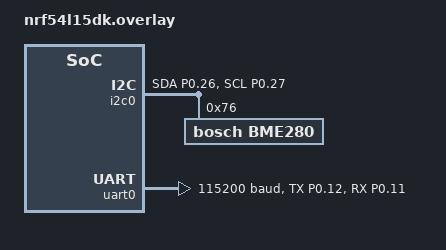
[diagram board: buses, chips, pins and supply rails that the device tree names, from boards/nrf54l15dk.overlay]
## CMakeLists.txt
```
cmake_minimum_required(VERSION 3.20.0)
find_package(Zephyr REQUIRED HINTS $ENV{ZEPHYR_BASE})
project(ncs_ble_bme280_nrf54_standalone)

target_sources(app PRIVATE 
    src/main.c
    src/storage.c  # ENABLED: storage for sensor data
    src/ble_gatt.c
)
```

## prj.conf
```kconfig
CONFIG_MAIN_STACK_SIZE=2048

# MCUboot bootloader for OTA updates
CONFIG_BOOTLOADER_MCUBOOT=y

CONFIG_BT=y
CONFIG_BT_PERIPHERAL=y
CONFIG_BT_GATT_SERVICE_CHANGED=y
CONFIG_BT_MAX_CONN=1
CONFIG_BT_BUF_ACL_TX_COUNT=3
CONFIG_BT_BUF_ACL_RX_COUNT=3
CONFIG_BT_DEVICE_NAME="BME-789ABC"
CONFIG_BT_DEVICE_NAME_DYNAMIC=y
CONFIG_BT_PRIVACY=n
# CONFIG_BT_LIM_ADV_TIMEOUT - not set (unlimited advertising)

# NOTE (adv stability):
# - privacy off to avoid host resume (-12) after first connect
# - no limited adv timeout so adv stays running

# Sensor stack - DISABLED (using random data instead)
# CONFIG_SENSOR=y
# CONFIG_I2C=y
# CONFIG_BME280=y

# Storage/NVS - ENABLED
CONFIG_FLASH=y
CONFIG_FLASH_PAGE_LAYOUT=y
CONFIG_FLASH_MAP=y
CONFIG_NVS=y

# ADC - ENABLED (for battery voltage reading)
CONFIG_ADC=y
CONFIG_NRFX_SAADC=y

# Логи по UART (полный вывод)
CONFIG_SERIAL=y
CONFIG_UART_CONSOLE=y
CONFIG_CONSOLE=y
CONFIG_LOG=y
CONFIG_LOG_BACKEND_UART=y
CONFIG_LOG_MODE_IMMEDIATE=y
CONFIG_PRINTK=y
CONFIG_LOG_DEFAULT_LEVEL=3

# BT debug: maximum verbosity to catch adv resume issues
CONFIG_BT_LOG_LEVEL_DBG=y
# CONFIG_BT_DEBUG_LOG=y  # Not available in this Zephyr version
# CONFIG_BT_DEBUG_HCI_CORE=y  # Not available in this Zephyr version
# CONFIG_BT_DEBUG_HCI_DRIVER=y  # Not available in this Zephyr version
# CONFIG_BT_DEBUG_CONN=y  # Not available in this Zephyr version
# CONFIG_BT_DEBUG_GATT=y  # Not available in this Zephyr version
```

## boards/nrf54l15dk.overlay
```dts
&pinctrl {
    i2c0_default: i2c0_default {
        group1 {
            psels = <NRF_PSEL(TWIM_SDA, 0, 26)>,
                    <NRF_PSEL(TWIM_SCL, 0, 27)>;
        };
    };

    i2c0_sleep: i2c0_sleep {
        group1 {
            psels = <NRF_PSEL(TWIM_SDA, 0, 26)>,
                    <NRF_PSEL(TWIM_SCL, 0, 27)>;
            low-power-enable;
        };
    };
};

&i2c0 {
    status = "okay";
    pinctrl-0 = <&i2c0_default>;
    pinctrl-1 = <&i2c0_sleep>;
    pinctrl-names = "default", "sleep";

    bme280@76 {
        compatible = "bosch,bme280";
        reg = <0x76>;
        label = "BME280";
    };
};

/ {
    chosen {
        zephyr,console = &uart0;
        zephyr,flash = &flash0;
    };
};

&uart0 {
    status = "okay";
    current-speed = <115200>;
    pinctrl-0 = <&uart0_default>;
    pinctrl-1 = <&uart0_sleep>;
    pinctrl-names = "default", "sleep";
};

&pinctrl {
    uart0_default: uart0_default {
        group1 {
            psels = <NRF_PSEL(UART_TX, 0, 12)>,
                    <NRF_PSEL(UART_RX, 0, 11)>;
        };
    };

    uart0_sleep: uart0_sleep {
        group1 {
            psels = <NRF_PSEL(UART_TX, 0, 12)>,
                    <NRF_PSEL(UART_RX, 0, 11)>;
            low-power-enable;
        };
    };
};

/* Flash partitions are managed by Partition Manager (pm.yml) for nRF54L15 */
```

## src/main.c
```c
#include <zephyr/kernel.h>
#include <zephyr/device.h>
#include <zephyr/bluetooth/bluetooth.h>
#include <zephyr/bluetooth/hci.h>
#include <zephyr/logging/log.h>
#include <zephyr/sys/printk.h>
#include <zephyr/sys/util.h>
#include <string.h>
#include <sys/types.h>
#include "config.h"
#include "storage.h"  // ENABLED: storage for sensor data
#include "ble_gatt.h"

LOG_MODULE_REGISTER(main, LOG_LEVEL_INF);

static uint8_t adv_name[12]; // будет заполнено из BLE адреса, формат BME-XXXXXX

struct bt_data ad[] = {
    BT_DATA_BYTES(BT_DATA_FLAGS, (BT_LE_AD_GENERAL | BT_LE_AD_NO_BREDR)),
    BT_DATA_BYTES(BT_DATA_UUID128_ALL,
        0x12, 0x34, 0x56, 0x78, 0x12, 0x34, 0x12, 0x34,
        0x12, 0x34, 0x12, 0x34, 0x56, 0x78, 0x9a, 0xbc),
    {
        .type = BT_DATA_NAME_COMPLETE,
        .data_len = 0, // заполнится в рантайме
        .data = adv_name,
    },
};

static void low_power_init(void)
{
    // Low power initialization for nRF54L15
    // Power management handled by Zephyr RTOS
}

// Generate random sensor data instead of reading from real sensor

int main(void)
{
    int err;

    // Early test output via printk (before LOG system initializes)
    // printk("\n\n=== BME280 Node Starting ===\n");
    // printk("UART test: if you see this, UART is working!\n");
    // k_sleep(K_MSEC(100));
    
    // LOG_INF("BME280 Node starting...");

    low_power_init();
    // LOG_DBG("Low power initialized");

    // Initialize storage (non-blocking - continue even if it fails)
    err = storage_init();
    if (err) {
        LOG_ERR("Storage init failed: %d (continuing anyway)", err);
        // Continue without storage - device should still work for BLE
    } else {
        LOG_INF("Storage initialized, records: %u", storage_get_count());
        
        // Write a test record immediately to verify storage works
        sensor_record_t test_record = {
            .temp_x10 = 250,      // 25.0 degC
            .press_kpa = 1013,    // 1013 kPa
            .hum_pct = 50,        // 50%
            .battery_v_x10 = 30   // 3.0V
        };
        storage_write(&test_record);
        LOG_INF("Test record written, total: %u", storage_get_count());
    }

    // Initialize BLE - KEEP THIS (working code from beacon)
    err = bt_enable(NULL);
    if (err) {
        // LOG_ERR("BLE enable failed: %d", err);
        return err;
    }
    // LOG_INF("BLE enabled");

    // Initialize GATT server
    err = ble_gatt_init();
    if (err) {
        LOG_ERR("GATT init failed: %d", err);
        return err;
    }
    LOG_INF("GATT server initialized");

    // Prepare device name from BLE identity address: BME-XXXXXX
    {
        bt_addr_le_t addrs[CONFIG_BT_ID_MAX];
        size_t count = CONFIG_BT_ID_MAX;
        bt_id_get(addrs, &count);
        if (count > 0) {
            const uint8_t *a = addrs[0].a.val;
            int n = snprintk((char *)adv_name, sizeof(adv_name),
                             "BME-%02X%02X%02X", a[5], a[4], a[3]);
            if (n < 0) {
                adv_name[0] = '\0';
                ad[2].data_len = 0;
            } else {
                if (n >= sizeof(adv_name))
                    n = sizeof(adv_name) - 1;
                ad[2].data_len = (uint8_t)n;
            }
            // Set device name for compatibility
            bt_set_name((char *)adv_name);
        } else {
            // Fallback to static short name
            memcpy(adv_name, "BME-FFFF", 8);
            ad[2].data_len = 8;
        }
    }

    // Start BLE advertising - non-connectable legacy, interval ~100 ms (0x00a0 * 0.625 ms)
    // Name is included directly in advertising data (prepared above)
    err = bt_le_adv_start(
        BT_LE_ADV_PARAM(BT_LE_ADV_OPT_CONNECTABLE | BT_LE_ADV_OPT_USE_IDENTITY,
                        0x00a0, 0x00a0, NULL),
        ad, ARRAY_SIZE(ad),
        NULL, 0);
    if (err) {
        // LOG_ERR("BLE advertising start failed: %d", err);
        return err;
    }
    // LOG_INF("BLE advertising started");

    // LOG_INF("Node initialized successfully");

    // Main loop - generate random sensor data
    static uint32_t counter = 0;
    while (1) {
        sensor_record_t record;
        counter++;
        
        // Generate random sensor data
        // Temperature: 20-30 degC (200-300 in x10 units)
        // Use counter and some bit manipulation for pseudo-random values
        uint32_t seed = counter ^ (counter << 13) ^ (counter >> 17);
        record.temp_x10 = 200 + (seed % 100);  // 20.0-29.9 degC
        
        // Pressure: 980-1020 kPa (normal atmospheric pressure range)
        seed = seed ^ (seed << 15);
        record.press_kpa = 980 + (seed % 40);  // 980-1019 kPa
        
        // Humidity: 30-80%
        seed = seed ^ (seed << 7);
        record.hum_pct = 30 + (seed % 50);     // 30-79%
        
        // Battery: 3.0-4.2V (30-42 in x10 units)
        seed = seed ^ (seed << 11);
        record.battery_v_x10 = 30 + (seed % 12); // 3.0-4.1V
        
        // Log generated data
        LOG_INF("Random data: T=%d.%d degC P=%d kPa H=%d%% Bat=%d.%dV",
                record.temp_x10 / 10, record.temp_x10 % 10,
                record.press_kpa, record.hum_pct,
                record.battery_v_x10 / 10, record.battery_v_x10 % 10);
        
        // Write to storage
        storage_write(&record);
        
        k_sleep(K_SECONDS(SENSOR_READ_INTERVAL_SEC));
    }
    
    return 0;
}
```

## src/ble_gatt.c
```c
#include "ble_gatt.h"
#include "config.h"
#include "storage.h"  // ENABLED: storage for sensor data
#include <zephyr/kernel.h>
#include <zephyr/bluetooth/bluetooth.h>
#include <zephyr/bluetooth/gatt.h>
#include <zephyr/bluetooth/uuid.h>
#include <zephyr/logging/log.h>
#include <string.h>
#include <zephyr/sys/byteorder.h>

LOG_MODULE_REGISTER(ble_gatt, LOG_LEVEL_DBG);

// UUID definitions
static struct bt_uuid_128 data_service_uuid = BT_UUID_INIT_128(
    BT_UUID_128_ENCODE(0x12345678, 0x1234, 0x1234, 0x1234, 0x123456789ABC));
static struct bt_uuid_128 data_transfer_uuid = BT_UUID_INIT_128(
    BT_UUID_128_ENCODE(0x12345678, 0x1234, 0x1234, 0x1234, 0x123456789ABD));
static struct bt_uuid_128 control_uuid = BT_UUID_INIT_128(
    BT_UUID_128_ENCODE(0x12345678, 0x1234, 0x1234, 0x1234, 0x123456789ABE));
static struct bt_uuid_128 status_uuid = BT_UUID_INIT_128(
    BT_UUID_128_ENCODE(0x12345678, 0x1234, 0x1234, 0x1234, 0x123456789ABF));

// Transfer state
static bool transfer_in_progress = false;
static uint32_t transfer_current_index = 0;
static uint32_t transfer_total_count = 0;
static uint32_t transfer_start_seq = 0;  // Starting sequence number for current transfer
static struct bt_conn *current_conn = NULL;

// Characteristic handles
static struct bt_gatt_attr *data_transfer_attr = NULL;
static struct bt_gatt_attr *control_attr = NULL;
static struct bt_gatt_attr *status_attr = NULL;

/* Forward declaration for advertising data (defined in main.c) */
extern struct bt_data ad[3];

static void restart_advertising(void)
{
    LOG_INF("Restarting advertising after disconnect...");
    int err = bt_le_adv_start(
        BT_LE_ADV_PARAM(BT_LE_ADV_OPT_CONNECTABLE | BT_LE_ADV_OPT_USE_IDENTITY,
                        0x00a0, 0x00a0, NULL),
        ad, ARRAY_SIZE(ad), NULL, 0);
    if (err == -EALREADY) {
        LOG_DBG("Advertising already running");
    } else if (err) {
        LOG_ERR("Failed to restart advertising: %d", err);
    } else {
        LOG_INF("Advertising restarted successfully");
    }
}


// Packet buffer (20 bytes MTU)
static uint8_t packet_buffer[20];

static void encode_u16_be(uint8_t *dst, uint16_t v)
{
    dst[0] = (uint8_t)(v >> 8);
    dst[1] = (uint8_t)(v & 0xFF);
}

static void encode_u32_be(uint8_t *dst, uint32_t v)
{
    dst[0] = (uint8_t)(v >> 24);
    dst[1] = (uint8_t)(v >> 16);
    dst[2] = (uint8_t)(v >> 8);
    dst[3] = (uint8_t)(v & 0xFF);
}

static int send_header_packet(void)
{
    if (!current_conn || !data_transfer_attr) {
        return -ENOTCONN;
    }

    packet_buffer[0] = PACKET_TYPE_HEADER;
    
    // sensor_interval (2 bytes)
    encode_u16_be(&packet_buffer[1], SENSOR_READ_INTERVAL_SEC);
    
    // total (2 bytes) - max 65535
    uint32_t total = storage_get_count();
    if (total > 65535) total = 65535;
    encode_u16_be(&packet_buffer[3], (uint16_t)total);
    
    // last_sent (2 bytes)
    uint32_t last_sent = storage_get_last_sent();
    if (last_sent > 65535) last_sent = 65535;
    encode_u16_be(&packet_buffer[5], (uint16_t)last_sent);
    
    // reserved (13 bytes) - zero
    memset(&packet_buffer[7], 0, 13);

    struct bt_gatt_notify_params params = {
        .attr = data_transfer_attr,
        .data = packet_buffer,
        .len = sizeof(packet_buffer),
    };

    return bt_gatt_notify_cb(current_conn, &params);
}

static int send_data_packet(uint32_t start_seq, uint8_t count, const sensor_record_t *records)
{
    if (!current_conn || !data_transfer_attr) {
        return -ENOTCONN;
    }

    packet_buffer[0] = PACKET_TYPE_DATA;
    
    // seq (2 bytes)
    if (start_seq > 65535) start_seq = 65535;
    encode_u16_be(&packet_buffer[1], (uint16_t)start_seq);
    
    // count (2 bytes)
    packet_buffer[3] = count;
    packet_buffer[4] = 0;
    
    // data (up to 15 bytes - 2 records max)
    // Convert records to big-endian for network transmission
    uint8_t *dst = &packet_buffer[5];
    for (uint8_t i = 0; i < count; i++) {
        // temp_x10 (int16_t, 2 bytes) - big-endian
        // Cast to uint16_t preserves bit pattern for negative values
        encode_u16_be(dst, (uint16_t)records[i].temp_x10);
        dst += 2;
        // press_kpa (uint16_t, 2 bytes) - big-endian
        encode_u16_be(dst, records[i].press_kpa);
        dst += 2;
        // hum_pct (uint8_t, 1 byte) - no conversion needed
        *dst++ = records[i].hum_pct;
        // battery_v_x10 (uint8_t, 1 byte) - no conversion needed
        *dst++ = records[i].battery_v_x10;
    }
    
    // padding
    memset(&packet_buffer[5 + count * sizeof(sensor_record_t)], 0, 
           15 - count * sizeof(sensor_record_t));

    struct bt_gatt_notify_params params = {
        .attr = data_transfer_attr,
        .data = packet_buffer,
        .len = sizeof(packet_buffer),
    };

    return bt_gatt_notify_cb(current_conn, &params);
}

static int send_end_packet(uint32_t total_sent)
{
    if (!current_conn || !data_transfer_attr) {
        return -ENOTCONN;
    }

    packet_buffer[0] = PACKET_TYPE_END;
    
    // total_sent (2 bytes)
    if (total_sent > 65535) total_sent = 65535;
    encode_u16_be(&packet_buffer[1], (uint16_t)total_sent);
    
    // reserved (17 bytes)
    memset(&packet_buffer[3], 0, 17);

    struct bt_gatt_notify_params params = {
        .attr = data_transfer_attr,
        .data = packet_buffer,
        .len = sizeof(packet_buffer),
    };

    return bt_gatt_notify_cb(current_conn, &params);
}

static void transfer_worker(struct k_work *work)
{
    if (!transfer_in_progress || !current_conn) {
        return;
    }

    // Send header
    if (transfer_current_index == 0) {
        LOG_INF("Sending transfer header, total records: %u", transfer_total_count);
        send_header_packet();
        k_sleep(K_MSEC(50)); // Small delay between packets
    }

    // Send data packets (throttle to 1 record per packet to avoid buffer starvation)
    sensor_record_t records[1];
    uint32_t records_sent = 0;
    /* start from transfer_start_seq (provided by application) */
    uint32_t start_seq = transfer_start_seq;
    
    while (transfer_current_index < transfer_total_count && records_sent < 100) {
        // Read 1 record per packet to reduce HCI buffer pressure
        uint8_t count = 0;
        if ((transfer_current_index) < transfer_total_count) {
            if (storage_read(start_seq + transfer_current_index, &records[0]) == 0) {
                count = 1;
            } else {
                /* If read fails, stop transfer and send END with what we have */
                transfer_current_index = transfer_total_count;
            }
        }

        if (count > 0) {
            send_data_packet(start_seq + transfer_current_index, count, records);
            transfer_current_index += count;
            records_sent += count;
            k_sleep(K_MSEC(120)); // Increase gap to keep TX buffers healthy
        } else {
            break;
        }
    }

    // Send end packet if done
    if (transfer_current_index >= transfer_total_count) {
        LOG_INF("Transfer completed, sent %u records", records_sent);
        send_end_packet(records_sent);
        transfer_in_progress = false;
        transfer_current_index = 0;
    } else {
        LOG_DBG("Transfer progress: %u/%u records", transfer_current_index, transfer_total_count);
        // Schedule next batch
        k_work_submit(work);
    }
}

static K_WORK_DEFINE(transfer_work, transfer_worker);
static K_WORK_DEFINE(advertising_work, restart_advertising);

// Data Transfer Characteristic (notify)
static void data_transfer_ccc_cfg_changed(const struct bt_gatt_attr *attr, uint16_t value)
{
    // Notification enabled/disabled
}

// Control characteristic write handler
static ssize_t control_write(struct bt_conn *conn, const struct bt_gatt_attr *attr,
                             const void *buf, uint16_t len, uint16_t offset, uint8_t flags)
{
    if (len < 1) {
        return BT_GATT_ERR(BT_ATT_ERR_INVALID_ATTRIBUTE_LEN);
    }

    const uint8_t *data = (const uint8_t *)buf;
    uint8_t cmd = data[0];

    switch (cmd) {
        case CMD_START_TRANSFER:
            if (len >= 3) {  // CMD + 2 bytes start_index
                uint16_t start_index = sys_get_be16(&data[1]);
                if (!transfer_in_progress) {
                    transfer_in_progress = true;
                    transfer_current_index = 0;
                    transfer_start_seq = start_index;  // Use provided start_index
                    uint32_t total_count = storage_get_count();
                    if (total_count > start_index) {
                        transfer_total_count = total_count - start_index;
                    } else {
                        transfer_total_count = 0;  // No new data
                    }
                    current_conn = bt_conn_ref(conn);
                    LOG_INF("Transfer command received, start_index: %u, total records: %u", start_index, transfer_total_count);
                    k_work_submit(&transfer_work);
                } else {
                    LOG_WRN("Transfer already in progress");
                }
            } else {
                LOG_WRN("Invalid START_TRANSFER command length: %u", len);
                return BT_GATT_ERR(BT_ATT_ERR_INVALID_ATTRIBUTE_LEN);
            }
            break;
            
        case CMD_STOP_TRANSFER:
            LOG_INF("Stop transfer command received");
            transfer_in_progress = false;
            if (current_conn) {
                bt_conn_unref(current_conn);
                current_conn = NULL;
            }
            break;
            
        case CMD_SET_LAST_SENT:
            if (len >= 3) {
                uint16_t last_sent = sys_get_be16(&data[1]);
                storage_set_last_sent(last_sent);
            }
            break;
    }

    return len;
}

// Status characteristic read handler
static ssize_t status_read(struct bt_conn *conn, const struct bt_gatt_attr *attr,
                           void *buf, uint16_t len, uint16_t offset)
{
    uint8_t status_data[4];
    uint32_t count = storage_get_count();
    uint32_t last_sent = storage_get_last_sent();
    
    if (count > 65535) count = 65535;
    if (last_sent > 65535) last_sent = 65535;
    
    encode_u16_be(&status_data[0], (uint16_t)count);
    encode_u16_be(&status_data[2], (uint16_t)last_sent);

    return bt_gatt_attr_read(conn, attr, buf, len, offset, status_data, sizeof(status_data));
}

BT_GATT_SERVICE_DEFINE(data_service,
    BT_GATT_PRIMARY_SERVICE(&data_service_uuid),
    
    BT_GATT_CHARACTERISTIC(&data_transfer_uuid.uuid,
        BT_GATT_CHRC_NOTIFY,
        BT_GATT_PERM_NONE,
        NULL, NULL, NULL),
    BT_GATT_CCC(data_transfer_ccc_cfg_changed,
        BT_GATT_PERM_READ | BT_GATT_PERM_WRITE),
    
    BT_GATT_CHARACTERISTIC(&control_uuid.uuid,
        BT_GATT_CHRC_WRITE | BT_GATT_CHRC_WRITE_WITHOUT_RESP,
        BT_GATT_PERM_WRITE,
        NULL, control_write, NULL),
    
    BT_GATT_CHARACTERISTIC(&status_uuid.uuid,
        BT_GATT_CHRC_READ | BT_GATT_CHRC_NOTIFY,
        BT_GATT_PERM_READ,
        status_read, NULL, NULL),
);

// Connection callbacks
// NOTE:
// - bt_le_adv_stop() убрано из connected: рекламу не гасим при подключении, чтобы не ломать повторные подключения.
// - Рестарт рекламы только в disconnected (см. restart_advertising), stack resume/таймауты не используются.
static void connected(struct bt_conn *conn, uint8_t err)
{
    LOG_INF("Connected callback called, err=%u", err);
    if (err) {
        LOG_ERR("Connection failed: %u", err);
        return;
    }
    current_conn = bt_conn_ref(conn);

    // Find characteristic attributes for notifications
    data_transfer_attr = bt_gatt_find_by_uuid(NULL, 0, &data_transfer_uuid.uuid);
    control_attr = bt_gatt_find_by_uuid(NULL, 0, &control_uuid.uuid);
    status_attr = bt_gatt_find_by_uuid(NULL, 0, &status_uuid.uuid);

    LOG_INF("BLE client connected, attributes found");
}

static void disconnected(struct bt_conn *conn, uint8_t reason)
{
    LOG_INF("Disconnected callback called, reason=%u", reason);
    transfer_in_progress = false;
    if (current_conn) {
        bt_conn_unref(current_conn);
        current_conn = NULL;
    }
    LOG_INF("BLE client disconnected, scheduling advertising restart...");

    // Schedule advertising restart via work queue
    k_work_submit(&advertising_work);
}

static struct bt_conn_cb conn_callbacks = {
    .connected = connected,
    .disconnected = disconnected,
};

int ble_gatt_init(void)
{
    int err;

    // Register connection callbacks
    err = bt_conn_cb_register(&conn_callbacks);
    if (err) {
        LOG_ERR("Failed to register connection callbacks: %d", err);
        return err;
    }
    LOG_INF("Connection callbacks registered");

    // Attributes will be found when connection is established
    // using bt_gatt_find_by_uuid if needed

    return 0;
}

int ble_gatt_start_transfer(void)
{
    if (transfer_in_progress) {
        LOG_WRN("Transfer already in progress");
        return -EBUSY;
    }

    transfer_in_progress = true;
    LOG_INF("Starting data transfer from index %u", transfer_start_seq);
    transfer_current_index = 0;
    /* Send records starting from transfer_start_seq */
    uint32_t total = storage_get_count();
    if (total > transfer_start_seq) {
        transfer_total_count = total - transfer_start_seq;
    } else {
        transfer_total_count = 0;
    }
    k_work_submit(&transfer_work);

    return 0;
}

int ble_gatt_stop_transfer(void)
{
    transfer_in_progress = false;
    return 0;
}

bool ble_gatt_is_transferring(void)
{
    return transfer_in_progress;
}
```

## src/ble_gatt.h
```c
#ifndef BLE_GATT_H
#define BLE_GATT_H

#include <stdint.h>
#include <stdbool.h>
#include "storage.h"  // ENABLED: storage for sensor data

// UUIDs are defined directly in ble_gatt.c

// Packet types
#define PACKET_TYPE_HEADER 0
#define PACKET_TYPE_DATA    1
#define PACKET_TYPE_END     2

// Control commands
#define CMD_START_TRANSFER  0x01
#define CMD_STOP_TRANSFER   0x02
#define CMD_GET_STATUS      0x03
#define CMD_SET_LAST_SENT   0x04

// Initialize GATT server
int ble_gatt_init(void);

// Start data transfer
int ble_gatt_start_transfer(void);

// Stop data transfer
int ble_gatt_stop_transfer(void);

// Check if transfer is in progress
bool ble_gatt_is_transferring(void);

#endif // BLE_GATT_H
```

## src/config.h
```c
#ifndef CONFIG_H
#define CONFIG_H

#define SENSOR_READ_INTERVAL_SEC 10      // Sensor reading period (seconds)
#define RAM_BUFFER_SIZE 200              // RAM buffer size before flash write
#define FLASH_WRITE_INTERVAL_SEC 5       // Minimum interval between flash writes (seconds)
#define ADV_CONNECTABLE_INTERVAL_MS 10000 // BLE advertising interval (ms)
                                          // Can be increased to 20000-30000 for maximum power savings

// Flash storage configuration for nRF54L15
#define DATA_PARTITION_OFFSET 0x45000    // Offset from flash0 base (matches overlay)
#define DATA_PARTITION_SIZE 0x7B000      // ~500 KB for data storage (nRF54L15 has 1.5 MB flash)
#define FLASH_PAGE_SIZE 4096             // 4 KB page size for nRF54L15

#endif // CONFIG_H
```

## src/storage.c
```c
#include "storage.h"
#include "config.h"
#include <zephyr/kernel.h>
#include <zephyr/device.h>
#include <zephyr/drivers/flash.h>
#include <zephyr/storage/flash_map.h>
#include <zephyr/fs/nvs.h>
#include <zephyr/sys/util.h>
#include <zephyr/logging/log.h>
#include <string.h>

LOG_MODULE_REGISTER(storage, LOG_LEVEL_DBG);

#define NVS_PARTITION_ID FIXED_PARTITION_ID(nvs_storage)
#define NVS_SECTOR_SIZE 4096
#define NVS_SECTOR_COUNT 2  // Minimum 2 sectors for wear leveling

// NVS keys
#define NVS_KEY_LAST_INDEX 0x01
#define NVS_KEY_LAST_SENT 0x02
#define NVS_KEY_WRAPPED 0x03

// Flash device for data partition
// For nRF54L15, sensor_storage may not be defined, use nvs_storage as fallback
#ifdef USE_PARTITION_MANAGER
// Check if sensor_storage partition exists (PM generates PM_sensor_storage_ID if it exists)
#ifdef PM_sensor_storage_ID
#define DATA_PARTITION_ID FIXED_PARTITION_ID(sensor_storage)
#else
#define DATA_PARTITION_ID FIXED_PARTITION_ID(nvs_storage)
#endif
#else
// For devicetree-based partitions (nRF52832)
#define DATA_PARTITION_ID FIXED_PARTITION_ID(sensor_storage)
#endif
static const struct flash_area *flash_area_data;

// RAM buffer for batching writes
static sensor_record_t ram_buffer[RAM_BUFFER_SIZE];
static uint32_t ram_buffer_count = 0;
static int64_t last_flash_write_time = 0;

// Storage state
static uint32_t current_index = 0;
static uint32_t last_sent_index = 0;
static bool wrapped = false;
static bool initialized = false;

// NVS instance
static struct nvs_fs nvs_fs;

static int flash_write_page(uint32_t page_offset, const void *data, size_t len)
{
    if (!flash_area_data) {
        return -ENODEV;
    }

    // Erase page if needed (simplified - assumes we track erased pages)
    // For ring buffer, we'll erase entire partition on init
    int err = flash_area_erase(flash_area_data, page_offset, FLASH_PAGE_SIZE);
    if (err) {
        return err;
    }

    // Ensure write length is word-aligned; pad with 0xFF if needed
    uint32_t padded_len = (len + 3U) & ~3U; // round up to 4 bytes
    static uint8_t write_buf[FLASH_PAGE_SIZE];
    if (padded_len > FLASH_PAGE_SIZE) {
        return -EINVAL;
    }
    memcpy(write_buf, data, len);
    if (padded_len > len) {
        memset(write_buf + len, 0xFF, padded_len - len);
    }

    err = flash_area_write(flash_area_data, page_offset, write_buf, padded_len);
    return err;
}

static int save_state_to_nvs(void)
{
    int err;
    
    err = nvs_write(&nvs_fs, NVS_KEY_LAST_INDEX, &current_index, sizeof(current_index));
    if (err) {
        return err;
    }
    
    err = nvs_write(&nvs_fs, NVS_KEY_LAST_SENT, &last_sent_index, sizeof(last_sent_index));
    if (err) {
        return err;
    }
    
    uint8_t wrapped_byte = wrapped ? 1 : 0;
    err = nvs_write(&nvs_fs, NVS_KEY_WRAPPED, &wrapped_byte, sizeof(wrapped_byte));
    
    return err;
}

static int load_state_from_nvs(void)
{
    int err;
    size_t len;
    
    len = sizeof(current_index);
    err = nvs_read(&nvs_fs, NVS_KEY_LAST_INDEX, &current_index, len);
    if (err < 0) {
        current_index = 0;
    }
    
    len = sizeof(last_sent_index);
    err = nvs_read(&nvs_fs, NVS_KEY_LAST_SENT, &last_sent_index, len);
    if (err < 0) {
        last_sent_index = 0;
    }
    
    uint8_t wrapped_byte = 0;
    len = sizeof(wrapped_byte);
    err = nvs_read(&nvs_fs, NVS_KEY_WRAPPED, &wrapped_byte, len);
    if (err >= 0) {
        wrapped = (wrapped_byte != 0);
    }
    
    return 0;
}

static int flush_ram_buffer(void)
{
    if (ram_buffer_count == 0) {
        return 0;
    }

    // Calculate how many records fit in a page
    const uint32_t records_per_page = FLASH_PAGE_SIZE / sizeof(sensor_record_t);
    
    // Write records in page-sized chunks
    uint32_t records_written = 0;
    while (records_written < ram_buffer_count) {
        uint32_t records_in_chunk = ram_buffer_count - records_written;
        if (records_in_chunk > records_per_page) {
            records_in_chunk = records_per_page;
        }
        
        // Calculate page offset for current_index
        uint32_t page_index = current_index / records_per_page;
        uint32_t page_offset = page_index * FLASH_PAGE_SIZE;
        
        // Check if we need to wrap
        if (page_offset >= DATA_PARTITION_SIZE) {
            wrapped = true;
            page_index = 0;
            page_offset = 0;
            current_index = 0;
            LOG_WRN("Storage wrapped, resetting to beginning");
        }
        
        // Write page
        int err = flash_write_page(page_offset, 
                                   &ram_buffer[records_written],
                                   records_in_chunk * sizeof(sensor_record_t));
        if (err) {
            LOG_ERR("Flash write failed: %d", err);
            return err;
        }
        
        current_index += records_in_chunk;
        records_written += records_in_chunk;
    }
    
    ram_buffer_count = 0;
    last_flash_write_time = k_uptime_get();
    
    // Save state
    save_state_to_nvs();
    
    LOG_INF("Flushed %u records to flash, total index: %u", records_written, current_index);
    
    return 0;
}

int storage_init(void)
{
    if (initialized) {
        return 0;
    }

    int err;
    
    LOG_INF("Initializing storage...");
    
    // Initialize NVS
    const struct flash_area *nvs_area;
    err = flash_area_open(NVS_PARTITION_ID, &nvs_area);
    if (err) {
        LOG_ERR("Failed to open NVS partition: %d", err);
        return err;
    }
    
    // Get flash device from flash area
    const struct device *flash_dev = flash_area_get_device(nvs_area);
    if (flash_dev == NULL) {
        LOG_ERR("Failed to get flash device");
        flash_area_close(nvs_area);
        return -ENODEV;
    }
    
    nvs_fs.flash_device = flash_dev;
    nvs_fs.offset = nvs_area->fa_off;
    /* Derive sector size from flash geometry */
    struct flash_pages_info info;
    err = flash_get_page_info_by_offs(nvs_fs.flash_device, nvs_fs.offset, &info);
    if (err) {
        LOG_ERR("Failed to get page info for NVS: %d", err);
        flash_area_close(nvs_area);
        return err;
    }
    nvs_fs.sector_size = info.size;
    nvs_fs.sector_count = 2; /* 8 KB total */
    
    /* Erase NVS partition before mount to ensure clean state */
    err = flash_area_erase(nvs_area, 0, nvs_area->fa_size);
    if (err) {
        LOG_ERR("Failed to erase NVS partition: %d", err);
        flash_area_close(nvs_area);
        return err;
    }

    err = nvs_mount(&nvs_fs);
    flash_area_close(nvs_area);
    if (err) {
        LOG_ERR("Failed to mount NVS after erase: %d", err);
        return err;
    }
    LOG_INF("NVS erased and mounted");
    
    // Load state
    load_state_from_nvs();
    LOG_INF("Storage state: index=%u, last_sent=%u, wrapped=%d", 
            current_index, last_sent_index, wrapped);
    
    // Open data partition
    err = flash_area_open(DATA_PARTITION_ID, &flash_area_data);
    if (err) {
        LOG_ERR("Failed to open data partition: %d", err);
        return err;
    }
    
    initialized = true;
    LOG_INF("Storage initialized successfully");
    return 0;
}

int storage_write(const sensor_record_t *record)
{
    if (!initialized) {
        return -ENODEV;
    }
    
    // Add to RAM buffer
    if (ram_buffer_count < RAM_BUFFER_SIZE) {
        ram_buffer[ram_buffer_count++] = *record;
    }
    
    // Flush if buffer is full or time interval passed
    int64_t now = k_uptime_get();
    bool time_to_flush = (now - last_flash_write_time) >= (FLASH_WRITE_INTERVAL_SEC * 1000);
    
    if (ram_buffer_count >= RAM_BUFFER_SIZE || time_to_flush) {
        LOG_DBG("Flushing RAM buffer: count=%u, time_to_flush=%d", 
                ram_buffer_count, time_to_flush);
        return flush_ram_buffer();
    }
    
    return 0;
}

int storage_read(uint32_t index, sensor_record_t *record)
{
    if (!initialized || !record) {
        return -EINVAL;
    }

    /* Read from RAM buffer if index is within buffered (not yet flushed) range */
    if (index >= current_index && index < (current_index + ram_buffer_count)) {
        uint32_t buffer_index = index - current_index;
        if (buffer_index < ram_buffer_count) {
            *record = ram_buffer[buffer_index];
            return 0;
        } else {
            return -EINVAL;
        }
    }

    /* Read from flash if index < current_index */
    if (index >= current_index) {
        /* Not yet written to flash and not in buffer */
        return -EINVAL;
    }

    uint32_t max_count = storage_get_max_count();
    if (index >= max_count) {
        return -EINVAL;
    }

    uint32_t offset = index * sizeof(sensor_record_t);
    return flash_area_read(flash_area_data, offset, record, sizeof(sensor_record_t));
}

uint32_t storage_get_count(void)
{
    if (!initialized) {
        return 0;
    }
    
    // Include records in RAM buffer
    uint32_t total = current_index + ram_buffer_count;
    
    if (wrapped) {
        return storage_get_max_count();
    }
    
    return total;
}

uint32_t storage_get_max_count(void)
{
    return DATA_PARTITION_SIZE / sizeof(sensor_record_t);
}

uint32_t storage_get_last_sent(void)
{
    return last_sent_index;
}

int storage_set_last_sent(uint32_t index)
{
    if (!initialized) {
        return -ENODEV;
    }
    
    last_sent_index = index;
    return save_state_to_nvs();
}

bool storage_is_wrapped(void)
{
    return wrapped;
}
```

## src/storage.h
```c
#ifndef STORAGE_H
#define STORAGE_H

#include <stdint.h>
#include <stdbool.h>

// Compact sensor record format (6 bytes)
typedef struct __attribute__((packed)) {
    int16_t temp_x10;        // Temperature in 0.1 degC units (-3276.8..+3276.7 degC)
    uint16_t press_kpa;      // Pressure in kPa (0..65535 kPa)
    uint8_t  hum_pct;        // Humidity in % (0..255%, saturates at 100%)
    uint8_t  battery_v_x10;  // Battery in 0.1V units (0..25.5V)
} sensor_record_t;

// Initialize storage system
int storage_init(void);

// Write a new record (with automatic overwrite when full)
int storage_write(const sensor_record_t *record);

// Read a record by index
int storage_read(uint32_t index, sensor_record_t *record);

// Get current count of records
uint32_t storage_get_count(void);

// Get maximum capacity
uint32_t storage_get_max_count(void);

// Get last sent index
uint32_t storage_get_last_sent(void);

// Set last sent index
int storage_set_last_sent(uint32_t index);

// Check if buffer has wrapped (overflowed)
bool storage_is_wrapped(void);

#endif // STORAGE_H
```
